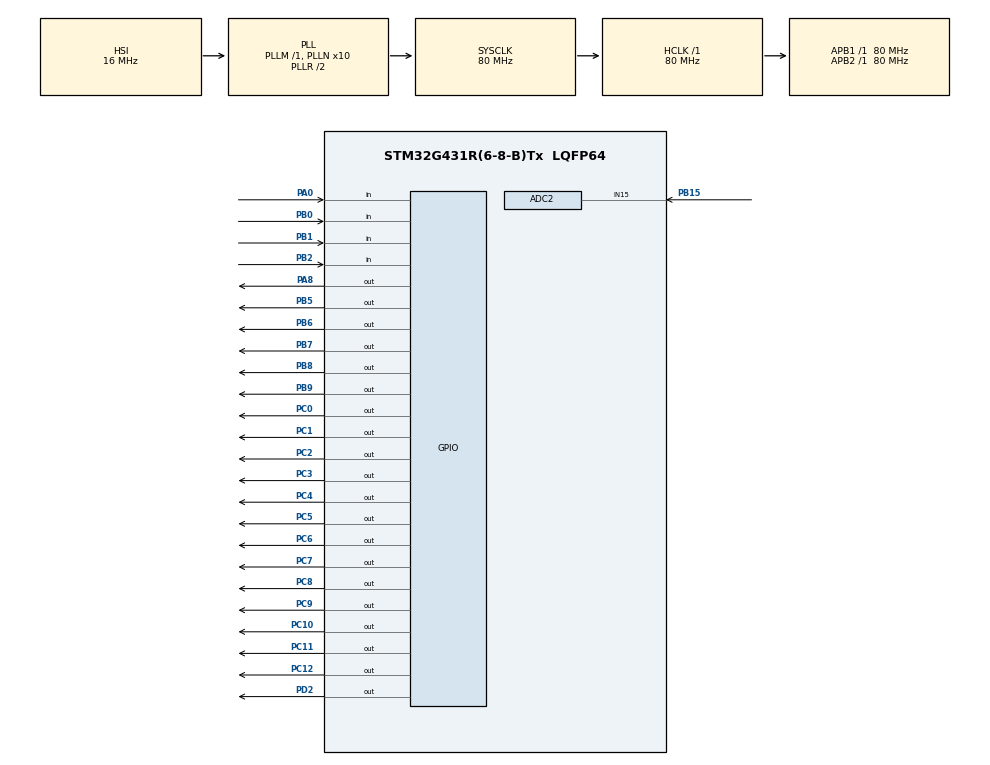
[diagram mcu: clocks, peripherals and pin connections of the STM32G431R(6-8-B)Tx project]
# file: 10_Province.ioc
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ADC2.Channel-0\#ChannelRegularConversion=ADC_CHANNEL_15
ADC2.NbrOfConversionFlag=1
ADC2.OffsetNumber-0\#ChannelRegularConversion=ADC_OFFSET_NONE
ADC2.Rank-0\#ChannelRegularConversion=1
ADC2.SamplingTime-0\#ChannelRegularConversion=ADC_SAMPLETIME_2CYCLES_5
Mcu.Family=STM32G4
Mcu.Name=STM32G431R(6-8-B)Tx
Mcu.Package=LQFP64
NVIC.PriorityGroup=NVIC_PRIORITYGROUP_4
NVIC.TIM1_UP_TIM16_IRQn=true\:0\:0\:false\:false\:true\:true\:true\:true
PA0.Signal=GPIO_Input
PA13.Mode=Serial_Wire
PA13.Signal=SYS_JTMS-SWDIO
PA14.Mode=Serial_Wire
PA14.Signal=SYS_JTCK-SWCLK
PA8.Signal=GPIO_Output
PB0.Signal=GPIO_Input
PB1.Signal=GPIO_Input
PB15.Mode=IN15-Single-Ended
PB15.Signal=ADC2_IN15
PB2.Signal=GPIO_Input
PB5.Signal=GPIO_Output
PB6.Signal=GPIO_Output
PB7.Signal=GPIO_Output
PB8-BOOT0.Signal=GPIO_Output
PB9.Signal=GPIO_Output
PC0.Signal=GPIO_Output
PC1.Signal=GPIO_Output
PC10.Signal=GPIO_Output
PC11.Signal=GPIO_Output
PC12.Signal=GPIO_Output
PC2.Signal=GPIO_Output
PC3.Signal=GPIO_Output
PC4.Signal=GPIO_Output
PC5.Signal=GPIO_Output
PC6.Signal=GPIO_Output
PC7.Signal=GPIO_Output
PC8.Signal=GPIO_Output
PC9.Signal=GPIO_Output
PD2.Signal=GPIO_Output
PF0-OSC_IN.Mode=HSE-External-Oscillator
PF0-OSC_IN.Signal=RCC_OSC_IN
PF1-OSC_OUT.Mode=HSE-External-Oscillator
PF1-OSC_OUT.Signal=RCC_OSC_OUT
ProjectManager.HeapSize=0x200
ProjectManager.StackSize=0x400
ProjectManager.TargetToolchain=MDK-ARM V5.32
RCC.ADC12Freq_Value=80000000
RCC.AHBFreq_Value=80000000
RCC.APB1Freq_Value=80000000
RCC.APB1TimFreq_Value=80000000
RCC.APB2Freq_Value=80000000
RCC.APB2TimFreq_Value=80000000
RCC.CortexFreq_Value=80000000
RCC.EXTERNAL_CLOCK_VALUE=12288000
RCC.HCLKFreq_Value=80000000
RCC.HSE_VALUE=8000000
RCC.HSI48_VALUE=48000000
RCC.HSI_VALUE=16000000
RCC.LSE_VALUE=32768
RCC.PLLN=10
RCC.SYSCLKFreq_VALUE=80000000
RCC.SYSCLKSource=RCC_SYSCLKSOURCE_PLLCLK
RCC.USBFreq_Value=80000000
RCC.VCOOutputFreq_Value=160000000
TIM1.AutoReloadPreload=TIM_AUTORELOAD_PRELOAD_ENABLE
TIM1.PeriodNoDither=10000-1
TIM1.Prescaler=80-1
VP_SYS_VS_DBSignals.Mode=DisableDeadBatterySignals
VP_TIM1_VS_ClockSourceINT.Mode=Internal
board=custom

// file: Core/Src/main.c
/* USER CODE BEGIN Header */
/**
  ******************************************************************************
  * @file           : main.c
  * @brief          : Main program body
  ******************************************************************************
  * @attention
  *
  * Copyright (c) 2024 STMicroelectronics.
  * All rights reserved.
  *
  * This software is licensed under terms that can be found in the LICENSE file
  * in the root directory of this software component.
  * If no LICENSE file comes with this software, it is provided AS-IS.
  *
  ******************************************************************************
  */
/* USER CODE END Header */
#include "main.h"
#include "adc.h"
#include "tim.h"
#include "gpio.h"

/* USER CODE BEGIN Includes */
#include "lcd.h"
#include "interrupt.h"
#include "stdio.h"
#include "string.h"
#include "stdlib.h"
#include "i2c_hal.h"
#include "MY_IIC.h"
/* USER CODE END Includes */

void SystemClock_Config(void);

/* USER CODE BEGIN 0 */
char *Stats[3]={"Upper","Lower","Normal"};
double Max_V=2.4,Min_V=1.2;
int Upp_LED=1,Low_LED=2;
int sreen=0;
int select;
int select_adc;
void LED_Judge(int LED_Value)
{
	static int LED_Num;
	LED_Num=0x01<<(LED_Value-1);
	LED_Disp(LED_Num);
}
void ADC_Cap()
{
	if(getADC(&hadc2)>Max_V)
	{
		select_adc=0;
	}
	else if(getADC(&hadc2)<Min_V)
	{
		select_adc=1;
	}
	else
	{
		select_adc=2;
	}
	switch(select_adc)
	{
		case 0:
			LED_Judge(Upp_LED);
		break;
		case 1:
			LED_Judge(Low_LED);
		break;
		case 2:
			LED_Judge(0x00);
		break;
	}
}
void Key()
{
	if(get_key_stat(0))
	{
		sreen++;
		sreen%=2;
	}
	if(sreen)
	{
		if(get_key_stat(1))
		{
			select++;
			select%=4;
		}
		if(get_key_stat(2))
		{
			switch(select)
			{
				case 0:
				{
					if(Max_V>=3.2)
					{
						Max_V=3.3;
					}
					else
					{
						Max_V+=0.3;
					}
				}break;
				case 1:
				{
					if(Max_V-0.1>=Min_V)
					{
						Min_V+=0.3;
					}
					else
					{
						Min_V=Max_V;
					}
				}break;
				case 2:
				{
					if(Upp_LED>=8)
					{
						Upp_LED=8;
					}
					 else if((Upp_LED+1)!=Low_LED)
					{
						Upp_LED++;
					}
					else
					{
						Upp_LED+=2;
					}
					if(Upp_LED==9)
					{
						Upp_LED=7;
					}
				}break;
				case 3:
				{
					if(Low_LED>=8)
					{
						Low_LED=8;
					}
					 else if((Low_LED+1)!=Upp_LED)
					{
						Low_LED++;
					}
					else
					{
						Low_LED+=2;
					}
					if(Low_LED==9)
					{
						Low_LED=7;
					}
				}break;
			}
		}
		if(get_key_stat(3))
		{
			switch(select)
			{
				case 0:
				{
					if(Max_V<=Min_V+0.1)
					{
						Max_V=Min_V;
					}
					else
					{
						Max_V-=0.3;
					}
				}break;
				case 1:
				{
					if(0.1<=Min_V)
					{
						Min_V-=0.3;
					}
					else
					{
						Min_V=0.0;
					}
				}break;
				case 2:
				{
					if(Upp_LED<=1)
					{
						Upp_LED=1;
					}
					 else if((Upp_LED-1)!=Low_LED)
					{
						Upp_LED--;
					}
					else
					{
						Upp_LED-=2;
					}
					if(Upp_LED==-0)
					{
						Upp_LED=2;
					}
				}break;
				case 3:
				{
					if(Low_LED<=1)
					{
						Low_LED=1;
					}
					 else if((Low_LED-1)!=Upp_LED)
					{
						Low_LED--;
					}
					else
					{
						Low_LED-=2;
					}
					if(Low_LED==0)
					{
						Low_LED=2;
					}
				}break;
			}
		}
	}
	set_key_stat(0,0);
	set_key_stat(1,0);
	set_key_stat(2,0);
	set_key_stat(3,0);
}
void Main()
{
	unsigned char str[25];
	LCD_DisplayStringLine(Line1,(u8 *)"       Main    ");
	sprintf((char *)str,"   Volt:%.2fV        ",getADC(&hadc2));
	LCD_DisplayStringLine(Line3,str);
	sprintf((char *)str,"   Status:%s         ",Stats[select_adc]);
	LCD_DisplayStringLine(Line4,str);
	LCD_ClearLine(Line5);
	LCD_ClearLine(Line6);
	select=0;
}
void Setting()
{
	unsigned char str[25];
	LCD_DisplayStringLine(Line1,(u8 *)"       Setting ");
	if(select==0)
	{
		LCD_SetBackColor(Green);
		sprintf((char *)str,"   Max Volr:%.1fV    ",Max_V);
		LCD_DisplayStringLine(Line3,str);
		LCD_SetBackColor(Black);
	}
	else
	{
		sprintf((char *)str,"   Max Volr:%.1fV    ",Max_V);
		LCD_DisplayStringLine(Line3,str);
	}
	if(select==1)
	{
		LCD_SetBackColor(Green);
		sprintf((char *)str,"   Min Volr:%.1fV    ",Min_V);
		LCD_DisplayStringLine(Line4,str);
		LCD_SetBackColor(Black);
	}
	else
	{
		sprintf((char *)str,"   Min Volr:%.1fV    ",Min_V);
		LCD_DisplayStringLine(Line4,str);
	}
	if(select==2)
	{
		LCD_SetBackColor(Green);
		sprintf((char *)str,"   Upper:LD%d        ",Upp_LED);
		LCD_DisplayStringLine(Line5,str);
		LCD_SetBackColor(Black);
	}
	else
	{
		sprintf((char *)str,"   Upper:LD%d        ",Upp_LED);
		LCD_DisplayStringLine(Line5,str);
	}
	if(select==3)
	{
		LCD_SetBackColor(Green);
		sprintf((char *)str,"   Lower:LD%d        ",Low_LED);
		LCD_DisplayStringLine(Line6,str);
		LCD_SetBackColor(Black);
	}
	else
	{
		sprintf((char *)str,"   Lower:LD%d        ",Low_LED);
		LCD_DisplayStringLine(Line6,str);
	}

}
/* USER CODE END 0 */

int main(void)
{
  /* USER CODE BEGIN 1 */
	unsigned char val=0;
  /* USER CODE END 1 */

  /* MCU Configuration--------------------------------------------------------*/

  /* Reset of all peripherals, Initializes the Flash interface and the Systick. */
  HAL_Init();

  /* Configure the system clock */
  SystemClock_Config();

  /* Initialize all configured peripherals */
  MX_GPIO_Init();
  MX_ADC2_Init();
  MX_TIM1_Init();
  /* USER CODE BEGIN 2 */
  I2CInit();
  LCD_Init();
  LCD_Clear(Black);
  LCD_SetBackColor(Black);
  LCD_SetTextColor(Blue2);
	HAL_TIM_Base_Start_IT(&htim1);
	HAL_ADCEx_Calibration_Start(&hadc2,ADC_SINGLE_ENDED);
	LED_Disp(0x00);
	//x24c02_write(0,0);
	val=x24c02_read(0);
	x24c02_write(0, ++val);
	if(val==1)
	{
		x24c02_write(1,(char)Max_V);HAL_Delay(5);
		x24c02_write(2,(char)Min_V);HAL_Delay(5);
		x24c02_write(3,Upp_LED);HAL_Delay(5);
		x24c02_write(4,Low_LED);HAL_Delay(5);
	}
	Max_V=x24c02_read(1);HAL_Delay(5);
	Min_V=x24c02_read(2);HAL_Delay(5);
	Upp_LED=x24c02_read(3);HAL_Delay(5);
	Low_LED=x24c02_read(4);HAL_Delay(5);

	unsigned char buf[20];
		sprintf(buf, "      PWR CNTR:%d    ", val);
		LCD_DisplayStringLine(Line8, (uint8_t *)(buf));

  /* USER CODE END 2 */

  /* Infinite loop */
  while (1)
  {

    /* USER CODE BEGIN 3 */
	x24c02_write(1,Max_V);HAL_Delay(5);
	x24c02_write(2,Min_V);HAL_Delay(5);
	x24c02_write(3,Upp_LED);HAL_Delay(5);
	x24c02_write(4,Low_LED);HAL_Delay(5);
	ADC_Cap();
	Key();
	  switch(sreen)
	  {
		  case 0:
			Main();break;
		  case 1:
			Setting();break;
	  }
  }
  /* USER CODE END 3 */
}

void SystemClock_Config(void)
{
  RCC_OscInitTypeDef RCC_OscInitStruct = {0};
  RCC_ClkInitTypeDef RCC_ClkInitStruct = {0};

  /** Configure the main internal regulator output voltage
  */
  HAL_PWREx_ControlVoltageScaling(PWR_REGULATOR_VOLTAGE_SCALE1);

  /** Initializes the RCC Oscillators according to the specified parameters
  * in the RCC_OscInitTypeDef structure.
  */
  RCC_OscInitStruct.OscillatorType = RCC_OSCILLATORTYPE_HSI;
  RCC_OscInitStruct.HSIState = RCC_HSI_ON;
  RCC_OscInitStruct.HSICalibrationValue = RCC_HSICALIBRATION_DEFAULT;
  RCC_OscInitStruct.PLL.PLLState = RCC_PLL_ON;
  RCC_OscInitStruct.PLL.PLLSource = RCC_PLLSOURCE_HSI;
  RCC_OscInitStruct.PLL.PLLM = RCC_PLLM_DIV1;
  RCC_OscInitStruct.PLL.PLLN = 10;
  RCC_OscInitStruct.PLL.PLLP = RCC_PLLP_DIV2;
  RCC_OscInitStruct.PLL.PLLQ = RCC_PLLQ_DIV2;
  RCC_OscInitStruct.PLL.PLLR = RCC_PLLR_DIV2;
  if (HAL_RCC_OscConfig(&RCC_OscInitStruct) != HAL_OK)
  {
    Error_Handler();
  }

  /** Initializes the CPU, AHB and APB buses clocks
  */
  RCC_ClkInitStruct.ClockType = RCC_CLOCKTYPE_HCLK|RCC_CLOCKTYPE_SYSCLK
                              |RCC_CLOCKTYPE_PCLK1|RCC_CLOCKTYPE_PCLK2;
  RCC_ClkInitStruct.SYSCLKSource = RCC_SYSCLKSOURCE_PLLCLK;
  RCC_ClkInitStruct.AHBCLKDivider = RCC_SYSCLK_DIV1;
  RCC_ClkInitStruct.APB1CLKDivider = RCC_HCLK_DIV1;
  RCC_ClkInitStruct.APB2CLKDivider = RCC_HCLK_DIV1;

  if (HAL_RCC_ClockConfig(&RCC_ClkInitStruct, FLASH_LATENCY_2) != HAL_OK)
  {
    Error_Handler();
  }
}

void Error_Handler(void)
{
  __disable_irq();
  while (1)
  {
  }
}
